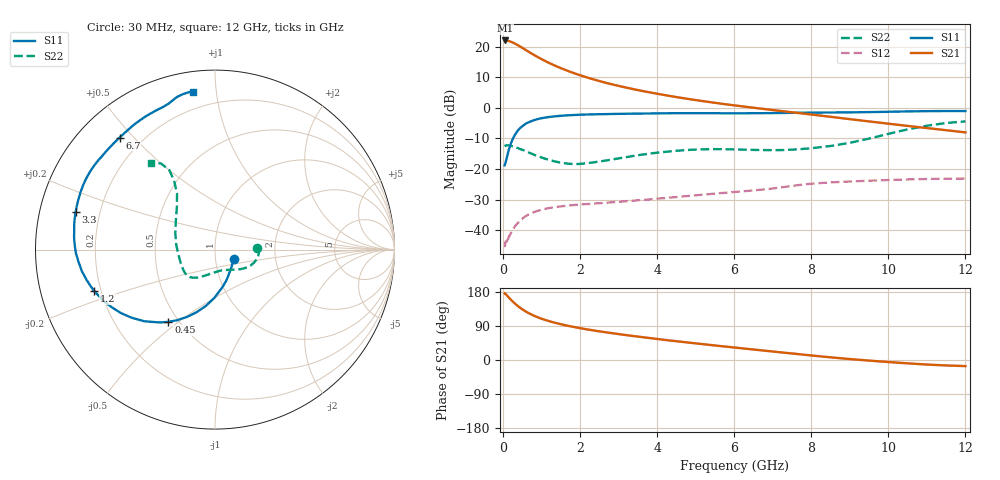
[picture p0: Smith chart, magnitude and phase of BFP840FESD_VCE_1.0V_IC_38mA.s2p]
! Infineon Technologies  Discrete & RF Semiconductors
! BFP840FESD
! VCE =  1.0 V,  IC =  38 mA
! Common Emitter S-Parameters:  May 2012
# GHz  S  MA  R  50
!  f  S11  S21  S12  S22
! GHz  MAG  ANG  MAG  ANG  MAG  ANG  MAG  ANG
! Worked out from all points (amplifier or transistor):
!   103 points, 30 MHz to 12 GHz, reference 50 ohm
!   highest |S21| = 22.0 dB at 40 MHz (marker M1)
!   |S21| within 3 dB of that: start of sweep to 564.3 MHz
!   unconditionally stable (mu >= 1): start of sweep to end of sweep
!   at 400 MHz: K = 2.68, MAG = 21.6 dB, |S12| = -37.3 dB
!   at 3.7 GHz: K = 2.80, MAG = 10.3 dB, |S12| = -30.0 dB
!   at 12 GHz: K = 2.85, MAG = 0.1 dB, |S12| = -23.1 dB
!   S11 on the Smith chart (normalised r, x): 30 MHz: 1.22, -0.13; 450 MHz: 0.44, -0.46; 1.2 GHz: 0.17, -0.16; 3.3 GHz: 0.11, +0.13; 6.7 GHz: 0.12, +0.46; 12 GHz: 0.10, +0.87
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0.03  0.1154 -26.2  12.65 175.7  0.0057 18.0  0.2353 2.0
0.04  0.119 -32.9  12.65 174.5  0.0055 25.6  0.2384 1.2
0.05  0.1258 -40.3  12.62 174.8  0.0064 22.8  0.2411 0.1
0.13  0.1957 -74.0  12.42 165.9  0.0076 32.2  0.2441 -7.0
0.2  0.2692 -90.8  12.01 158.4  0.0092 39.2  0.2396 -12.1
0.25  0.3188 -99.3  11.65 153.4  0.0104 40.9  0.2347 -15.3
0.35  0.407 -112.7  10.81 144.4  0.0127 41.7  0.2231 -21.2
0.45  0.479 -122.8  9.917 136.6  0.0148 42.1  0.2112 -26.3
0.6  0.5608 -134.6  8.676 126.7  0.0174 40.2  0.1931 -32.7
0.8  0.6325 -146.0  7.296 116.6  0.0199 37.2  0.1711 -40.0
1  0.6802 -154.6  6.216 108.6  0.0218 34.8  0.1539 -46.7
1.2  0.7126 -161.2  5.379 102.1  0.0232 33.1  0.1408 -53.3
1.6  0.7527 -171.1  4.196 91.9  0.025 31.0  0.1244 -67.6
2.1  0.7779 -179.9  3.248 82.0  0.0267 30.4  0.1238 -85.7
2.7  0.7925 171.8  2.534 72.5  0.0283 31.4  0.1393 -102.1
3.3  0.8042 164.7  2.074 64.2  0.0302 33.3  0.1608 -113.6
4.1  0.8159 156.0  1.658 54.2  0.0333 35.8  0.1884 -124.1
6.1  0.8171 136.8  1.081 31.9  0.0428 38.4  0.2092 -148.2
6.7  0.8199 130.4  0.971 25.5  0.0461 39.2  0.2048 -159.4
8.5  0.8415 113.3  0.715 7.0  0.0607 33.2  0.2386 157.8
10.5  0.8768 103.9  0.508 -8.8  0.0678 24.8  0.4461 120.7
12  0.8881 97.9  0.398 -16.1  0.07 21.7  0.6016 126.4
